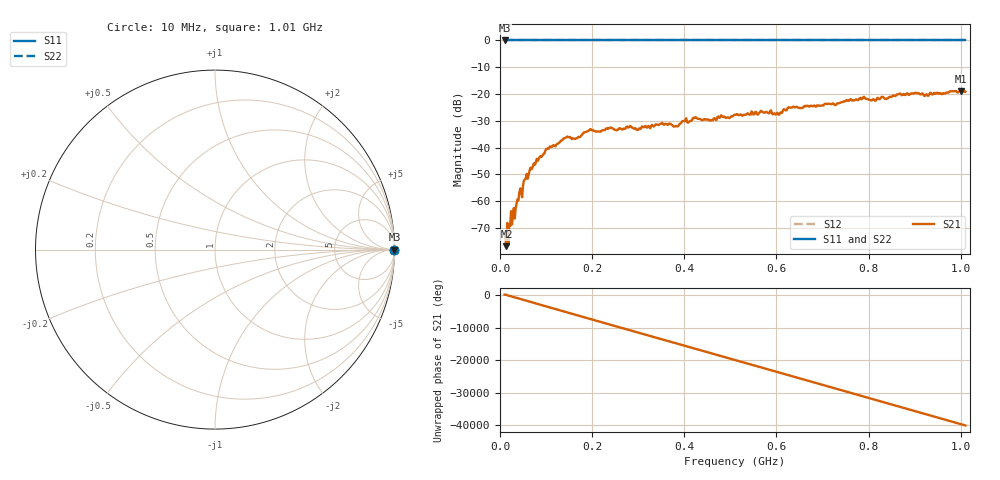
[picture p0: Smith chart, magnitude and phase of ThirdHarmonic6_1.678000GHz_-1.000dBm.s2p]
! 8/16/2025 8:08:12 PM
! C:\ANRITSUVNA\TEMP\TEMP.S2P
! CHANNEL.1
! TR.MEASUREMENT
! RAW.DATA
! RF.CORRECTION.OFF
! AVERAGING.OFF
! IF.BANDWIDTH: 5KHZ
! SWEEPTYPE:  FREQ.SWEEP(Linear)
! Reference Plane Port Info
! PORT:  PORT1  PORT2
! DISTANCE:  0  m  0  m
! TIME:  0  s  0  s
! PHASE.OFFSET:  0  deg.  0  deg.
! LOSS:  0  dB  0  dB
! REF.LOSS:  0  dB  0  dB
! REF.FREQ:  0  Hz  0  Hz
! Power Info
! POWER:  -20  dBm  -20  dBm
! EFF.POWER:  -20  dBm  -20  dBm
! SOURCE.ATTEN:  0  dB  0  dB
! TEST.ATTEN:  0  dB  0  dB
# GHZ S RI R 50.0
! FREQ.GHZ  S11RE  S11IM  S21RE  S21IM  S12RE  S12IM  S22RE  S22IM
!; PortSelection: Port_12
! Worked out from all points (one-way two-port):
!   501 points, 10 MHz to 1.01 GHz, reference 50 ohm
!   highest |S21| = -18.84 dB at 1 GHz (marker M1); lowest = -76.8 dB at 14 MHz (marker M2)
!   lowest |S11| = 0.0 dB at 10 MHz (marker M3)
!   |S11| at or under -10 dB: nowhere
!   |S22| runs from 0.0 to 0.0 dB; largest |S21 - S12| = 1.1
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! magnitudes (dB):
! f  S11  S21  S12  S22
! 10 MHz  0.0  -72.1  0.0  0.0
! 14 MHz  0.0  -76.8  0.0  0.0
! 26 MHz  0.0  -68.7  0.0  0.0
! 30 MHz  0.0  -62.6  0.0  0.0
! 54 MHz  0.0  -51.9  0.0  0.0
! 76 MHz  0.0  -46.4  0.0  0.0
! 104 MHz  0.0  -40.2  0.0  0.0
! 142 MHz  0.0  -36.3  0.0  0.0
! 178 MHz  0.0  -35.2  0.0  0.0
! 198 MHz  0.0  -33.3  0.0  0.0
! 300 MHz  0.0  -33.3  0.0  0.0
! 344 MHz  0.0  -31.6  0.0  0.0
! 382 MHz  0.0  -31.9  0.0  0.0
! 422 MHz  0.0  -29.0  0.0  0.0
! 458 MHz  0.0  -29.7  0.0  0.0
! 510 MHz  0.0  -27.8  0.0  0.0
! 602 MHz  0.0  -27.0  0.0  0.0
! 628 MHz  0.0  -25.0  0.0  0.0
! 678 MHz  0.0  -24.6  0.0  0.0
! 844 MHz  0.0  -21.2  0.0  0.0
! 1 GHz  0.0  -18.8  0.0  0.0
! 1.01 GHz  0.0  -19.1  0.0  0.0
